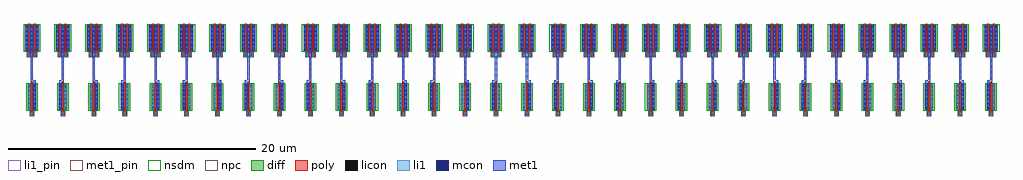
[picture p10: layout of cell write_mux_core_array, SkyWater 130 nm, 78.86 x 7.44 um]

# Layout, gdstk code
from math import pi, radians
import gdstk
lib = gdstk.Library(unit=1e-6, precision=1e-09)
def R(c, l, rs):  # rectangles x0, y0, x1, y1
    for r in rs: c.add(gdstk.rectangle(r[:2], r[2:], *l))
def A(c, l, x, y, w, h, nx, ny, dx, dy):  # array of equal rectangles
    R(c, l, [(x+i*dx, y+j*dy, x+i*dx+w, y+j*dy+h) for i in range(nx) for j in range(ny)])
diff = (65, 20)
poly = (66, 20)
licon = (66, 44)
li1_pin = (67, 16)
li1 = (67, 20)
mcon = (67, 44)
met1_pin = (68, 16)
met1 = (68, 20)
nsdm = (93, 44)
npc = (95, 20)

polyc_1x1h = lib.new_cell('polyc_1x1h')
R(polyc_1x1h, poly, [(-0.08,-0.05,0.25,0.22)])
R(polyc_1x1h, licon, [(0,0,0.17,0.17)])
R(polyc_1x1h, li1, [(-0.08,0,0.25,0.17)])
R(polyc_1x1h, npc, [(-0.1,-0.1,0.27,0.27)])

ndiffc_1x6h = lib.new_cell('ndiffc_1x6h')
R(ndiffc_1x6h, diff, [(-0.06,-0.04,1.93,0.21)])
A(ndiffc_1x6h, licon, 0, 0, 0.17, 0.17, 6, 1, 0.34, 0)
R(ndiffc_1x6h, li1, [(-0.08,0,1.95,0.17)])
R(ndiffc_1x6h, nsdm, [(-0.185,-0.165,2.055,0.335)])

ptx__nmos_svt_2000_150_1 = lib.new_cell('ptx__nmos_svt_2000_150_1')
R(ptx__nmos_svt_2000_150_1, diff, [(0,0,2,0.68)])
R(ptx__nmos_svt_2000_150_1, poly, [(-0.19,0.265,2.13,0.415)])
R(ptx__nmos_svt_2000_150_1, nsdm, [(-0.125,-0.125,2.125,0.805)])
R(ptx__nmos_svt_2000_150_1, npc, [(-0.54,0.155,-0.17,0.525)])
ptx__nmos_svt_2000_150_1.add(gdstk.Reference(polyc_1x1h, (-0.44,0.255)))
ptx__nmos_svt_2000_150_1.add(gdstk.Reference(ndiffc_1x6h, (0.065,0.04)))
ptx__nmos_svt_2000_150_1.add(gdstk.Reference(ndiffc_1x6h, (0.065,0.47)))

ptx__nmos_svt_2000_150_2 = lib.new_cell('ptx__nmos_svt_2000_150_2')
R(ptx__nmos_svt_2000_150_2, diff, [(0,0,2,1.11)])
R(ptx__nmos_svt_2000_150_2, poly, [(-0.19,0.265,2.13,0.415), (-0.19,0.695,2.13,0.845)])
R(ptx__nmos_svt_2000_150_2, nsdm, [(-0.125,-0.125,2.125,1.235)])
R(ptx__nmos_svt_2000_150_2, npc, [(-0.54,0.13,-0.17,0.98)])
ptx__nmos_svt_2000_150_2.add(gdstk.Reference(polyc_1x1h, (-0.44,0.23)))
ptx__nmos_svt_2000_150_2.add(gdstk.Reference(polyc_1x1h, (-0.44,0.71)))
ptx__nmos_svt_2000_150_2.add(gdstk.Reference(ndiffc_1x6h, (0.065,0.04)))
ptx__nmos_svt_2000_150_2.add(gdstk.Reference(ndiffc_1x6h, (0.065,0.47)))
ptx__nmos_svt_2000_150_2.add(gdstk.Reference(ndiffc_1x6h, (0.065,0.9)))

viali_6x1v = lib.new_cell('viali_6x1v')
R(viali_6x1v, li1, [(0,0,0.17,1.97)])
A(viali_6x1v, mcon, 0, 0, 0.17, 0.17, 1, 6, 0, 0.36)
R(viali_6x1v, met1, [(-0.03,-0.06,0.2,2.03)])

write_mux_route = lib.new_cell('write_mux_route')
A(write_mux_route, li1, -0.855, 4.755, 0.17, 2.03, 3, 1, 0.43, 0)
R(write_mux_route, met1, [(-0.64,-0.015,-0.47,2.37), (-0.64,2.2,-0.255,2.37), (-0.425,2.2,-0.255,4.925), (-0.425,2.555,-0.255,4.925)])
write_mux_route.add(gdstk.Reference(viali_6x1v, (-0.425,4.785)))
write_mux_route.add(gdstk.Reference(viali_6x1v, (-0.64,0.015)))
write_mux_route.add(gdstk.Reference(viali_6x1v, (0.005,4.785)))
write_mux_route.add(gdstk.Reference(viali_6x1v, (-0.855,4.785)))

write_mux = lib.new_cell('write_mux')
R(write_mux, li1_pin, [(-0.425,-0.52,-0.255,-0.19), (-0.21,-0.015,-0.04,2.015), (-0.665,4.25,-0.495,4.58), (-0.185,4.25,-0.015,4.58)])
R(write_mux, met1_pin, [(-0.855,4.755,-0.685,6.785), (0.005,4.755,0.175,6.785)])
write_mux.add(gdstk.Reference(ptx__nmos_svt_2000_150_1, (0,0), rotation=pi/2))
write_mux.add(gdstk.Reference(ptx__nmos_svt_2000_150_2, (0.215,4.77), rotation=pi/2))
write_mux.add(gdstk.Reference(write_mux_route, (0,0)))
write_mux.add(gdstk.Label('vss', (-0.125,1), layer=67, texttype=16))
write_mux.add(gdstk.Label('we', (-0.34,-0.355), layer=67, texttype=16))
write_mux.add(gdstk.Label('data', (-0.1,4.415), layer=67, texttype=16))
write_mux.add(gdstk.Label('data_b', (-0.58,4.415), layer=67, texttype=16))
write_mux.add(gdstk.Label('br', (0.09,5.77), layer=68, texttype=16))
write_mux.add(gdstk.Label('bl', (-0.77,5.77), layer=68, texttype=16))

write_mux_core_array = lib.new_cell('write_mux_core_array')
write_mux_core_array.add(gdstk.Reference(write_mux, (-0.68,0), rotation=pi, x_reflection=True))
write_mux_core_array.add(gdstk.Reference(write_mux, (2.5,0)))
write_mux_core_array.add(gdstk.Reference(write_mux, (4.32,0), rotation=pi, x_reflection=True))
write_mux_core_array.add(gdstk.Reference(write_mux, (7.5,0)))
write_mux_core_array.add(gdstk.Reference(write_mux, (9.32,0), rotation=pi, x_reflection=True))
write_mux_core_array.add(gdstk.Reference(write_mux, (12.5,0)))
write_mux_core_array.add(gdstk.Reference(write_mux, (14.32,0), rotation=pi, x_reflection=True))
write_mux_core_array.add(gdstk.Reference(write_mux, (17.5,0)))
write_mux_core_array.add(gdstk.Reference(write_mux, (19.32,0), rotation=pi, x_reflection=True))
write_mux_core_array.add(gdstk.Reference(write_mux, (22.5,0)))
write_mux_core_array.add(gdstk.Reference(write_mux, (24.32,0), rotation=pi, x_reflection=True))
write_mux_core_array.add(gdstk.Reference(write_mux, (27.5,0)))
write_mux_core_array.add(gdstk.Reference(write_mux, (29.32,0), rotation=pi, x_reflection=True))
write_mux_core_array.add(gdstk.Reference(write_mux, (32.5,0)))
write_mux_core_array.add(gdstk.Reference(write_mux, (34.32,0), rotation=pi, x_reflection=True))
write_mux_core_array.add(gdstk.Reference(write_mux, (37.5,0)))
write_mux_core_array.add(gdstk.Reference(write_mux, (39.32,0), rotation=pi, x_reflection=True))
write_mux_core_array.add(gdstk.Reference(write_mux, (42.5,0)))
write_mux_core_array.add(gdstk.Reference(write_mux, (44.32,0), rotation=pi, x_reflection=True))
write_mux_core_array.add(gdstk.Reference(write_mux, (47.5,0)))
write_mux_core_array.add(gdstk.Reference(write_mux, (49.32,0), rotation=pi, x_reflection=True))
write_mux_core_array.add(gdstk.Reference(write_mux, (52.5,0)))
write_mux_core_array.add(gdstk.Reference(write_mux, (54.32,0), rotation=pi, x_reflection=True))
write_mux_core_array.add(gdstk.Reference(write_mux, (57.5,0)))
write_mux_core_array.add(gdstk.Reference(write_mux, (59.32,0), rotation=pi, x_reflection=True))
write_mux_core_array.add(gdstk.Reference(write_mux, (62.5,0)))
write_mux_core_array.add(gdstk.Reference(write_mux, (64.32,0), rotation=pi, x_reflection=True))
write_mux_core_array.add(gdstk.Reference(write_mux, (67.5,0)))
write_mux_core_array.add(gdstk.Reference(write_mux, (69.32,0), rotation=pi, x_reflection=True))
write_mux_core_array.add(gdstk.Reference(write_mux, (72.5,0)))
write_mux_core_array.add(gdstk.Reference(write_mux, (74.32,0), rotation=pi, x_reflection=True))
write_mux_core_array.add(gdstk.Reference(write_mux, (77.5,0)))

lib.write_gds('write_mux_core_array.gds')
